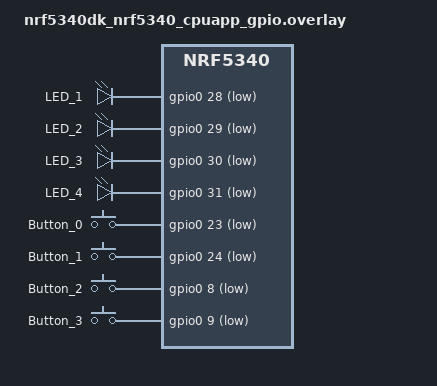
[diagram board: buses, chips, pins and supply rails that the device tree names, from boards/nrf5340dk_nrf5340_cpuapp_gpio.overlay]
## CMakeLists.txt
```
cmake_minimum_required(VERSION 3.20.0)

find_package(Zephyr REQUIRED HINTS $ENV{ZEPHYR_BASE})
project(12_button_led)

target_sources(app PRIVATE src/main.c)
```

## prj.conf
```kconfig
# 启用 GPIO 驱动
CONFIG_GPIO=y

# 启用 printk 以便在控制台看到输出
CONFIG_PRINTK=y
```

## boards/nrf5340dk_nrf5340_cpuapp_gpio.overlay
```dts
/dts-v1/;
/plugin/;

/ {
    aliases {
        led0 = &led0;
        led1 = &led1;
        led2 = &led2;
        led3 = &led3;

        sw0  = &button0;
        sw1  = &button1;
        sw2  = &button2;
        sw3  = &button3;
    };

    /* 修改 LED 引脚配置 */
    leds {
        compatible = "gpio-leds";
        led0: led_0 {
            gpios = <&gpio0 28 GPIO_ACTIVE_LOW>;  // LED1 (P0.28)
            label = "LED_1";
        };
        led1: led_1 {
            gpios = <&gpio0 29 GPIO_ACTIVE_LOW>;  // LED2 (P0.29)
            label = "LED_2";
        };
        led2: led_2 {
            gpios = <&gpio0 30 GPIO_ACTIVE_LOW>;  // LED3 (P0.30)
            label = "LED_3";
        };
        led3: led_3 {
            gpios = <&gpio0 31 GPIO_ACTIVE_LOW>;  // LED4 (P0.31)
            label = "LED_4";
        };
    };

    /* 修改按钮引脚配置 */
    buttons {
        compatible = "gpio-keys";
        button0: button_0 {
            gpios = <&gpio0 23 (GPIO_ACTIVE_LOW | GPIO_PULL_UP)>;
            label = "Button_0";
            zephyr,code = <INPUT_KEY_0>;
        };
        button1: button_1 {
            gpios = <&gpio0 24 (GPIO_ACTIVE_LOW | GPIO_PULL_UP)>;
            label = "Button_1";
            zephyr,code = <INPUT_KEY_1>;
        };
        button2: button_2 {
            gpios = <&gpio0 8 (GPIO_ACTIVE_LOW | GPIO_PULL_UP)>;
            label = "Button_2";
            zephyr,code = <INPUT_KEY_2>;
        };
        button3: button_3 {
            gpios = <&gpio0 9 (GPIO_ACTIVE_LOW | GPIO_PULL_UP)>;
            label = "Button_3";
            zephyr,code = <INPUT_KEY_3>;
        };
    };
};
```

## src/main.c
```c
#include <stdio.h>
#include <zephyr/kernel.h>
#include <zephyr/device.h>
#include <zephyr/devicetree.h>
#include <zephyr/drivers/gpio.h>
#include <zephyr/sys/printk.h>

/* 1000 msec = 1 sec */
#define  SHORT_DELAY  100

// 使用 DT_ALIAS() 从设备树中获取节点的别名。
#define  LED0_NODE  DT_ALIAS(led0)
#define  LED1_NODE  DT_ALIAS(led1)
#define  LED2_NODE  DT_ALIAS(led2)
#define  LED3_NODE  DT_ALIAS(led3)

#define  SW0_NODE   DT_ALIAS(sw0) // sw0 是 button0 的别名
#define  SW1_NODE   DT_ALIAS(sw1)
#define  SW2_NODE   DT_ALIAS(sw2)
#define  SW3_NODE   DT_ALIAS(sw3)


// 使用 GPIO_DT_SPEC_GET 宏从设备树节点中提取 GPIO 的完整规格（控制器、引脚号、标志位）
static const struct gpio_dt_spec leds[] = {
	GPIO_DT_SPEC_GET(LED0_NODE, gpios),
	GPIO_DT_SPEC_GET(LED1_NODE, gpios),
	GPIO_DT_SPEC_GET(LED2_NODE, gpios),
	GPIO_DT_SPEC_GET(LED3_NODE, gpios),
};

static const struct gpio_dt_spec buttons[] = {
	GPIO_DT_SPEC_GET(SW0_NODE, gpios),
	GPIO_DT_SPEC_GET(SW1_NODE, gpios),
	GPIO_DT_SPEC_GET(SW2_NODE, gpios),
	GPIO_DT_SPEC_GET(SW3_NODE, gpios),
};

///////////////////////////////////////////////////////////////////
// LED 相关的函数
int init_LED() {

	for (int i = 0; i < ARRAY_SIZE(leds); i++) {
		if (!device_is_ready(leds[i].port)) {
			printk("Error: LED device %s is not ready!\n", leds[i].port->name);
			return -11;
		}

		// 先把灯都关掉
		int ret = gpio_pin_configure_dt(&leds[i], GPIO_OUTPUT_INACTIVE);
		if (ret != 0) {
			printk("Error %d: failed to init (set to inactive) LED %d pin %d\n", ret, i, leds[i].pin);
			return -12;
		}
	}

	return 0;
}

int turn_on_LED(int i) {
	if (i < 0) {return -13;}
	if (i >= ARRAY_SIZE(leds)) { return -13; }
	return gpio_pin_configure_dt(&leds[i], GPIO_OUTPUT_ACTIVE);
}

int turn_off_LED(int i) {
	if (i < 0) {return -13;}
	if (i >= ARRAY_SIZE(leds)) { return -13; }
	return gpio_pin_configure_dt(&leds[i], GPIO_OUTPUT_INACTIVE);
}

///////////////////////////////////////////////////////////////////
// 开关相关的函数
int init_button() {

	for (int i = 0; i < ARRAY_SIZE(buttons); i++) {
		if (!device_is_ready(buttons[i].port)) {
			printk("Error: button device %s is not ready\n", buttons[i].port->name);
			return -21;
		}

		// 配置为输入模式，上拉电阻(根据硬件连接可能需要调整)
		int ret = gpio_pin_configure_dt(&buttons[i], GPIO_INPUT | GPIO_PULL_UP);
		if (ret != 0) {
			printk("Error %d: failed to configure button %d pin %d\n", ret, i, buttons[i].pin);
			return -22;
		}
	}

	return 0;
}

int read_button_state(int i) {
	if (i < 0) { return -23; }
	if (i >= ARRAY_SIZE(buttons)) { return -23; }
	return gpio_pin_get_dt(&buttons[i]);
}

// =============================================================

int main() {
	int ret1, ret2;

	printk("nRF5340 DK button-LED starts!\n");
	ret1 = init_LED();
	ret2 = init_button();
	if (ret1 * ret2 == 0) {
		printk("Ready: all devices are ready to go!\n");
	} else {
		printk("Error: not all devices are good to go! Quitting...\n");
		return -1;
	}

	////////////////////////////////////////////////////
	while (1) {
		for (int i = 0; i < ARRAY_SIZE(buttons); i++) {
			int val = read_button_state(i);

			if (val < 0) {
				printk("Error reading button %d\n", i);
				continue;
			}

			// 根据按键状态控制LED
			// 按下时灯亮; 会自动弹起, 弹起后灯亮
			if (val == 0) { // 弹起为0
				gpio_pin_configure_dt(&leds[i], GPIO_OUTPUT_INACTIVE);
			} else { // 按下为1
				gpio_pin_configure_dt(&leds[i], GPIO_OUTPUT_ACTIVE);
			}

			k_msleep(SHORT_DELAY);
		}
	}

	return 0;
}
```
